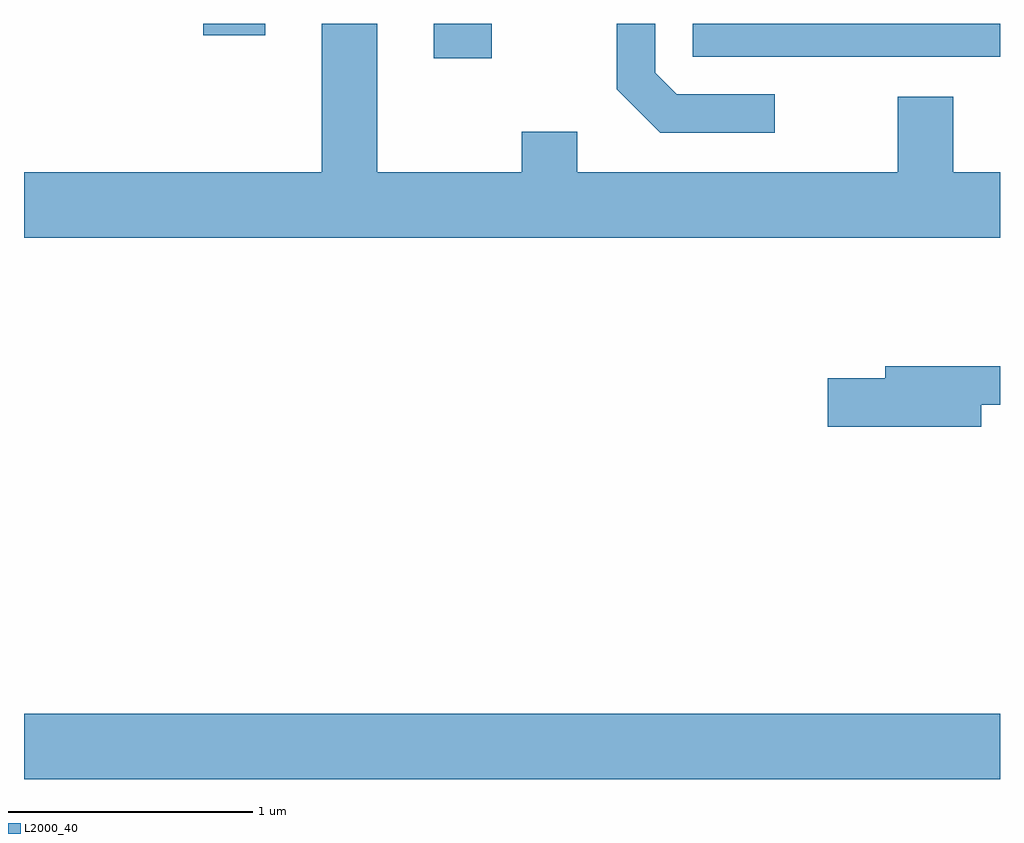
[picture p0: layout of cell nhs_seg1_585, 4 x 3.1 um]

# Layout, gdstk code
import gdstk
lib = gdstk.Library(unit=1e-6, precision=1e-09)
def R(c, l, rs):  # rectangles x0, y0, x1, y1
    for r in rs: c.add(gdstk.rectangle(r[:2], r[2:], *l))
def P(c, l, *ps):  # polygons
    for p in ps: c.add(gdstk.Polygon(p, *l))
L2000_40 = (2000, 40)

nhs_seg1_585 = lib.new_cell('nhs_seg1_585')
R(nhs_seg1_585, L2000_40, [(201.611,970.616,205.611,970.884), (203.291,973.571,203.528,973.712), (204.351,973.576,205.611,973.712), (202.346,973.666,202.599,973.712)])
P(nhs_seg1_585, L2000_40, [(205.611,973.104),(205.419,973.104),(205.419,973.414),(205.191,973.414),(205.191,973.104),(203.879,973.104),(203.879,973.269),(203.651,973.269),(203.651,973.104),(203.059,973.104),(203.059,973.712),(202.831,973.712),(202.831,973.104),(201.611,973.104),(201.611,972.836),(205.611,972.836)],
  [(204.688,973.424),(204.287,973.424),(204.199,973.512),(204.199,973.712),(204.041,973.712),(204.041,973.444),(204.219,973.266),(204.688,973.266)],
  [(205.534,972.151),(205.611,972.151),(205.611,972.309),(205.141,972.309),(205.141,972.259),(204.906,972.259),(204.906,972.061),(205.534,972.061)])

lib.write_gds('nhs_seg1_585.gds')
